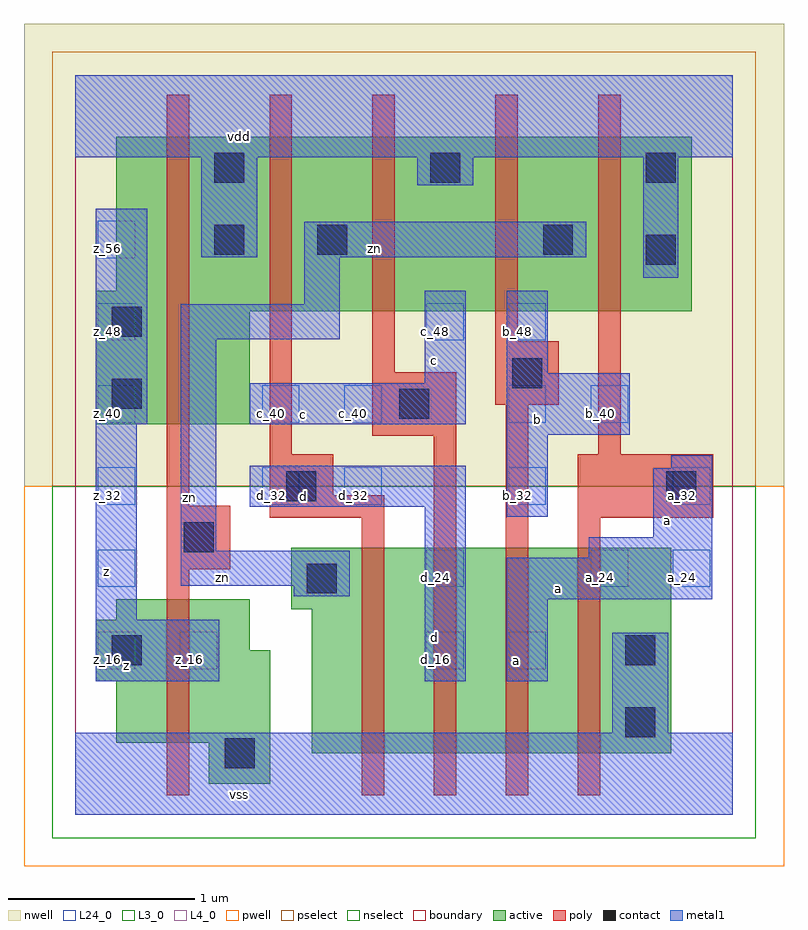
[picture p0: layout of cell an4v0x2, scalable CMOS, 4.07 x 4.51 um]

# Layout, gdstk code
import gdstk
lib = gdstk.Library(unit=1e-6, precision=2.5e-09)
def R(c, l, rs):  # rectangles x0, y0, x1, y1
    for r in rs: c.add(gdstk.rectangle(r[:2], r[2:], *l))
def A(c, l, x, y, w, h, nx, ny, dx, dy):  # array of equal rectangles
    R(c, l, [(x+i*dx, y+j*dy, x+i*dx+w, y+j*dy+h) for i in range(nx) for j in range(ny)])
L3_0 = (3, 0)
L4_0 = (4, 0)
L24_0 = (24, 0)
contact = (25, 0)
pwell = (41, 0)
nwell = (42, 0)
active = (43, 0)
pselect = (44, 0)
nselect = (45, 0)
poly = (46, 0)
metal1 = (49, 0)
boundary = (63, 0)

an4v0x2 = lib.new_cell('an4v0x2')
R(an4v0x2, L3_0, [(0.715,0.165,1.045,0.385), (1.265,0.33,3.19,1.1), (0.22,0.385,1.045,0.715), (0.11,0.715,1.045,0.88), (0.11,0.88,0.935,1.045), (0.22,1.045,0.935,1.155), (1.155,1.1,3.19,1.43)])
R(an4v0x2, L4_0, [(0.11,2.09,0.935,2.695), (0.11,2.695,3.3,2.805), (0.22,2.805,3.3,3.63)])
A(an4v0x2, L24_0, 0.12, 0.78, 0.2, 0.2, 1, 6, 0, 0.44)
A(an4v0x2, L24_0, 1.44, 1.66, 0.2, 0.2, 3, 1, 0.88, 0)
R(an4v0x2, L24_0, [(0.56,0.78,0.76,0.98), (1.88,0.78,2.08,0.98), (2.32,0.78,2.52,0.98), (1.88,1.22,2.08,1.42), (2.76,1.22,2.96,1.42), (3.2,1.22,3.4,1.42), (1,1.66,1.2,1.86), (1,2.1,1.2,2.3), (1.44,2.1,1.64,2.3), (2.32,2.1,2.52,2.3), (2.76,2.1,2.96,2.3), (1.88,2.54,2.08,2.74), (2.32,2.54,2.52,2.74)])
A(an4v0x2, contact, 0.745, 3.385, 0.16, 0.16, 3, 1, 1.155, 0)
R(an4v0x2, contact, [(0.8,0.25,0.96,0.41), (2.945,0.415,3.105,0.575), (0.195,0.8,0.355,0.96), (2.945,0.8,3.105,0.96), (1.24,1.185,1.4,1.345), (0.58,1.405,0.74,1.565), (1.13,1.68,1.29,1.84), (3.165,1.68,3.325,1.84), (1.735,2.12,1.895,2.28), (0.195,2.175,0.355,2.335), (2.34,2.285,2.5,2.445), (0.195,2.56,0.355,2.72), (3.055,2.945,3.215,3.105), (0.745,3,0.905,3.16), (1.295,3,1.455,3.16), (2.505,3,2.665,3.16)])
R(an4v0x2, pwell, [(-0.275,-0.275,3.795,1.76)])
R(an4v0x2, nwell, [(-0.275,1.76,3.795,4.235)])
R(an4v0x2, active, [(0.715,0.165,1.045,0.385), (1.265,0.33,3.19,1.1), (0.22,0.385,1.045,0.715), (0.11,0.715,1.045,0.88), (0.11,0.88,0.935,1.045), (0.22,1.045,0.935,1.155), (1.155,1.1,3.19,1.43), (0.11,2.09,0.935,2.695), (0.11,2.695,3.3,2.805), (0.22,2.805,3.3,3.63)])
R(an4v0x2, pselect, [(-0.125,1.76,3.645,4.085)])
R(an4v0x2, nselect, [(-0.125,-0.125,3.645,1.76)])
R(an4v0x2, poly, [(0.49,0.105,0.61,1.315), (1.535,0.105,1.655,1.59), (1.92,0.105,2.04,2.03), (2.305,0.105,2.425,2.195), (2.69,0.105,2.81,1.59), (0.49,1.315,0.83,1.655), (1.04,1.59,1.655,1.71), (2.69,1.59,3.415,1.93), (0.49,1.655,0.61,3.855), (1.04,1.71,1.38,1.93), (1.04,1.93,1.16,3.855), (2.8,1.93,2.92,3.855), (1.59,2.03,2.04,2.37), (2.25,2.195,2.59,2.535), (1.59,2.37,1.71,3.855), (2.25,2.535,2.37,3.855)])
R(an4v0x2, metal1, [(0,0,3.52,0.44), (2.875,0.44,3.175,0.975), (0.11,0.715,0.77,1.045), (1.87,0.715,2.09,1.65), (2.31,0.715,2.53,1.155), (0.11,1.045,0.33,2.09), (2.31,1.155,3.41,1.375), (1.17,1.17,1.47,1.225), (0.565,1.225,1.47,1.415), (2.75,1.375,3.41,1.485), (0.565,1.415,0.755,2.545), (3.095,1.485,3.41,1.855), (2.31,1.595,2.53,2.035), (0.935,1.65,2.09,1.87), (3.19,1.855,3.41,1.925), (2.31,2.035,2.97,2.365), (0.11,2.09,0.385,3.245), (0.935,2.09,2.09,2.31), (1.87,2.31,2.09,2.805), (2.31,2.365,2.53,2.805), (0.565,2.545,1.415,2.735), (1.225,2.735,1.415,2.985), (3.04,2.875,3.23,3.52), (0.675,2.985,0.975,3.52), (1.225,2.985,2.735,3.175), (1.83,3.37,2.13,3.52), (0,3.52,3.52,3.96)])
R(an4v0x2, boundary, [(0,0,3.52,3.96)])
an4v0x2.add(gdstk.Label('vss', (0.88,0.11), layer=49, texttype=0))
an4v0x2.add(gdstk.Label('a', (2.365,0.825), layer=49, texttype=0))
an4v0x2.add(gdstk.Label('a', (2.585,1.21), layer=49, texttype=0))
an4v0x2.add(gdstk.Label('a', (3.1725,1.5775), layer=49, texttype=0))
an4v0x2.add(gdstk.Label('d', (1.925,0.9475), layer=49, texttype=0))
an4v0x2.add(gdstk.Label('z', (0.275,0.7975), layer=49, texttype=0))
an4v0x2.add(gdstk.Label('zn', (0.79,1.2725), layer=49, texttype=0))
an4v0x2.add(gdstk.Label('d', (1.2225,1.705), layer=49, texttype=0))
an4v0x2.add(gdstk.Label('b', (2.475,2.1175), layer=49, texttype=0))
an4v0x2.add(gdstk.Label('c', (1.2225,2.145), layer=49, texttype=0))
an4v0x2.add(gdstk.Label('c', (1.925,2.4325), layer=49, texttype=0))
an4v0x2.add(gdstk.Label('zn', (0.6125,1.6975), layer=49, texttype=0))
an4v0x2.add(gdstk.Label('z', (0.165,1.305), layer=49, texttype=0))
an4v0x2.add(gdstk.Label('zn', (1.6025,3.0325), layer=49, texttype=0))
an4v0x2.add(gdstk.Label('vdd', (0.88,3.63), layer=49, texttype=0))
an4v0x2.add(gdstk.Label('z_16', (0.61,0.83), layer=24, texttype=0))
an4v0x2.add(gdstk.Label('d_32', (1.05,1.71), layer=24, texttype=0))
an4v0x2.add(gdstk.Label('c_40', (1.05,2.15), layer=24, texttype=0))
an4v0x2.add(gdstk.Label('d_32', (1.49,1.71), layer=24, texttype=0))
an4v0x2.add(gdstk.Label('c_40', (1.49,2.15), layer=24, texttype=0))
an4v0x2.add(gdstk.Label('d_16', (1.93,0.83), layer=24, texttype=0))
an4v0x2.add(gdstk.Label('d_24', (1.93,1.27), layer=24, texttype=0))
an4v0x2.add(gdstk.Label('c_48', (1.93,2.59), layer=24, texttype=0))
an4v0x2.add(gdstk.Label('z_16', (0.17,0.83), layer=24, texttype=0))
an4v0x2.add(gdstk.Label('z_24', (0.17,1.27), layer=24, texttype=0))
an4v0x2.add(gdstk.Label('z_32', (0.17,1.71), layer=24, texttype=0))
an4v0x2.add(gdstk.Label('z_40', (0.17,2.15), layer=24, texttype=0))
an4v0x2.add(gdstk.Label('z_48', (0.17,2.59), layer=24, texttype=0))
an4v0x2.add(gdstk.Label('z_56', (0.17,3.03), layer=24, texttype=0))
an4v0x2.add(gdstk.Label('a_16', (2.37,0.83), layer=24, texttype=0))
an4v0x2.add(gdstk.Label('b_32', (2.37,1.71), layer=24, texttype=0))
an4v0x2.add(gdstk.Label('b_40', (2.37,2.15), layer=24, texttype=0))
an4v0x2.add(gdstk.Label('b_48', (2.37,2.59), layer=24, texttype=0))
an4v0x2.add(gdstk.Label('a_24', (2.81,1.27), layer=24, texttype=0))
an4v0x2.add(gdstk.Label('b_40', (2.81,2.15), layer=24, texttype=0))
an4v0x2.add(gdstk.Label('a_24', (3.25,1.27), layer=24, texttype=0))
an4v0x2.add(gdstk.Label('a_32', (3.25,1.71), layer=24, texttype=0))

lib.write_gds('an4v0x2.gds')
